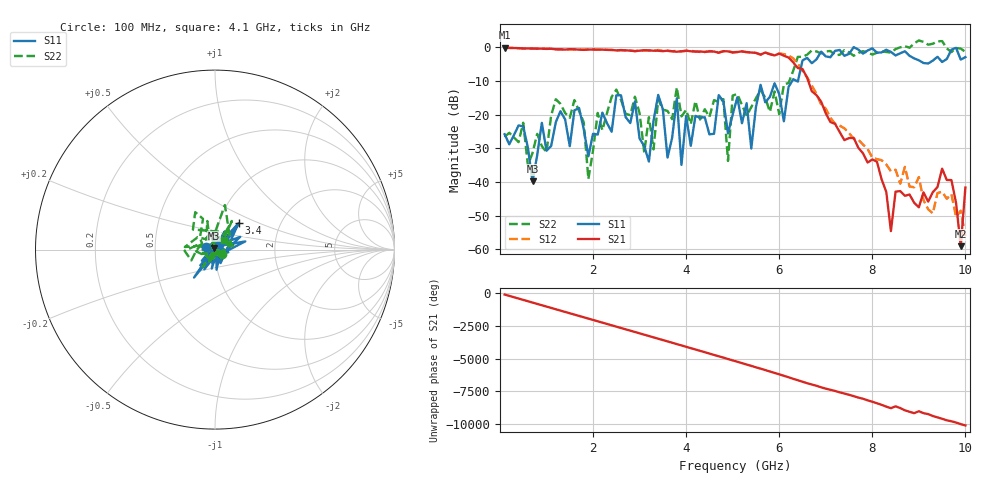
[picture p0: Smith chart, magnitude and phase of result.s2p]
! File created by SignalIntegrity v1.5.2: Signal and Power Integrity Tools
! https://github.com/Nubis-Communications/SignalIntegrity
# MHz S MA R 50.0
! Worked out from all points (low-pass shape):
!   100 points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, 100 MHz to 10 GHz, reference 50 ohm
!   highest |S21| = -0.07 dB at 100 MHz (marker M1); lowest = -59.1 dB at 9.9 GHz (marker M2)
!   |S21| within 3 dB of the highest: start of sweep to 6.205 GHz
!   lowest |S11| = -39.9 dB at 700 MHz (marker M3), VSWR 1.02, Z = 49.4 + j0.835 ohm
!   |S11| at or under -10 dB: start of sweep to 6.276 GHz; 6.377045 GHz to 6.402626 GHz (25.58 MHz wide, 0.4 % of centre)
!   |S22| runs from -39.1 to 2.1 dB; largest |S21 - S12| = 0.12
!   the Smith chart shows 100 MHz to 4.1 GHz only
!   S11 on the Smith chart (normalised r, x): 100 MHz: 0.91, +0.03; 3.4 GHz: 1.24, +0.38; 4.1 GHz: 1.04, +0.05
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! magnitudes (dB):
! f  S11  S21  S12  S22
! 100 MHz  -25.8  -0.1  -0.1  -26.6
! 700 MHz  -39.9  -0.3  -0.3  -31.4
! 900 MHz  -22.4  -0.4  -0.4  -29.4
! 1.8 GHz  -24.3  -0.7  -0.6  -22.3
! 1.9 GHz  -32.4  -0.6  -0.6  -39.1
! 2.6 GHz  -14.2  -0.8  -0.8  -15.6
! 3.2 GHz  -33.9  -0.9  -0.9  -20.7
! 3.4 GHz  -14.1  -1.0  -0.8  -15.5
! 3.6 GHz  -32.8  -1.0  -1.0  -18.9
! 3.8 GHz  -15.1  -1.3  -1.0  -11.9
! 3.9 GHz  -34.9  -1.2  -1.2  -20.5
! 4.1 GHz  -29.3  -1.2  -1.0  -22.8
! 4.8 GHz  -16.0  -1.1  -1.1  -15.4
! 4.9 GHz  -25.6  -1.2  -1.2  -33.8
! 5.1 GHz  -14.9  -1.4  -1.3  -13.8
! 5.4 GHz  -30.1  -1.5  -1.5  -17.7
! 5.6 GHz  -11.1  -2.1  -2.1  -12.7
! 6.7 GHz  -4.7  -13.0  -11.4  -0.9
! 8.4 GHz  -1.3  -54.6  -36.8  -1.5
! 9.5 GHz  -4.3  -36.1  -42.9  1.9
! 9.9 GHz  -3.6  -59.1  -48.5  -0.3
! 10 GHz  -2.9  -41.7  -56.1  -1.3
